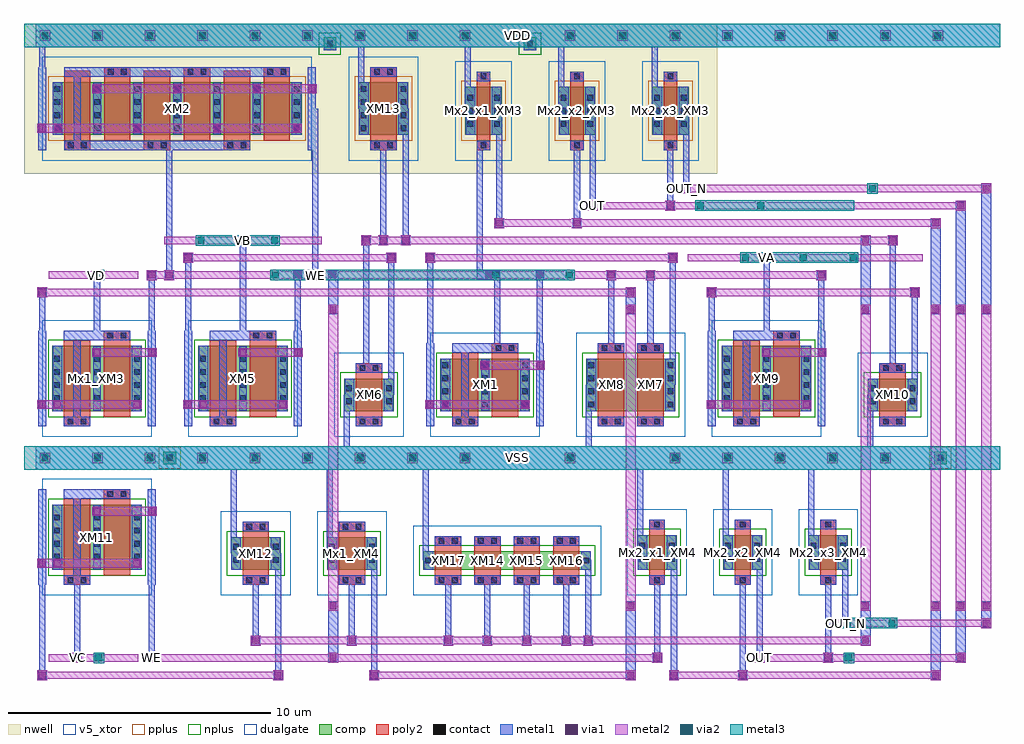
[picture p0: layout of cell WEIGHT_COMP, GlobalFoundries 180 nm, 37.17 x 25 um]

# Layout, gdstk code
import gdstk
lib = gdstk.Library(unit=1e-6, precision=1e-09)
def R(c, l, rs):  # rectangles x0, y0, x1, y1
    for r in rs: c.add(gdstk.rectangle(r[:2], r[2:], *l))
def A(c, l, x, y, w, h, nx, ny, dx, dy):  # array of equal rectangles
    R(c, l, [(x+i*dx, y+j*dy, x+i*dx+w, y+j*dy+h) for i in range(nx) for j in range(ny)])
def P(c, l, *ps):  # polygons
    for p in ps: c.add(gdstk.Polygon(p, *l))
nwell = (21, 0)
comp = (22, 0)
poly2 = (30, 0)
pplus = (31, 0)
nplus = (32, 0)
contact = (33, 0)
metal1 = (34, 0)
via1 = (35, 0)
metal2 = (36, 0)
via2 = (38, 0)
metal3 = (42, 0)
dualgate = (55, 0)
v5_xtor = (112, 1)

weight_comp = lib.new_cell('WEIGHT_COMP')
A(weight_comp, nwell, 14.77, 15.96, 2.56, 3.03, 3, 1, 3.56, 0)
R(weight_comp, nwell, [(-1.45,15.08,24.95,20.79), (-0.95,15.96,9.71,19.16), (10.71,15.96,13.77,19.16)])
A(weight_comp, comp, 13.77, 0, 1.86, 0.7, 4, 1, 1.5, 0)
A(weight_comp, comp, 21.93, 0, 1.46, 1.32, 3, 1, 3.26, 0)
A(weight_comp, comp, 15.37, 16.56, 1.36, 1.83, 3, 1, 3.56, 0)
R(weight_comp, comp, [(-0.37,0,-0.36,2.48), (-0.36,0,3.02,2.48), (3.02,0,3.03,2.48), (6.44,0,6.45,1.24), (6.45,0,8.31,1.24), (8.31,0,8.32,1.24), (10.1,0,10.11,1.24), (10.11,0,11.97,1.24), (11.97,0,11.98,1.24), (13.76,0,13.77,0.7), (15.26,0,15.27,0.7), (15.63,0,15.64,0.7), (16.76,0,16.77,0.7), (17.13,0,17.14,0.7), (18.26,0,18.27,0.7), (18.63,0,18.64,0.7), (20.13,0,20.14,0.7), (21.92,0,21.93,1.32), (23.39,0,23.4,1.32), (25.18,0,25.19,1.32), (26.65,0,26.66,1.32), (28.44,0,28.45,1.32), (29.91,0,29.92,1.32), (3.86,4.02,4.34,4.5), (33.21,4.02,33.69,4.5), (-0.37,6.04,-0.36,8.52), (-0.36,6.04,3.02,8.52), (3.02,6.04,3.03,8.52), (5.19,6.04,5.2,8.52), (5.2,6.04,8.58,8.52), (8.58,6.04,8.59,8.52), (10.75,6.04,10.76,7.28), (10.76,6.04,12.62,7.28), (12.62,6.04,12.63,7.28), (14.41,6.04,14.42,8.04), (14.42,6.04,17.8,8.04), (17.8,6.04,17.81,8.04), (19.97,6.04,19.98,8.04), (19.98,6.04,21.84,8.04), (21.47,6.04,21.48,8.04), (21.48,6.04,23.34,8.04), (21.84,6.04,21.85,8.04), (23.34,6.04,23.35,8.04), (25.13,6.04,25.14,8.52), (25.14,6.04,28.52,8.52), (28.52,6.04,28.53,8.52), (30.69,6.04,30.7,7.28), (30.7,6.04,32.56,7.28), (32.56,6.04,32.57,7.28), (-0.36,16.56,-0.35,18.56), (-0.35,16.56,9.11,18.56), (9.11,16.56,9.12,18.56), (11.3,16.56,11.31,18.56), (11.31,16.56,13.17,18.56), (13.17,16.56,13.18,18.56), (15.36,16.56,15.37,18.39), (16.73,16.56,16.74,18.39), (18.92,16.56,18.93,18.39), (20.29,16.56,20.3,18.39), (22.48,16.56,22.49,18.39), (23.85,16.56,23.86,18.39), (9.96,19.79,10.44,20.27), (17.58,19.79,18.06,20.27)])
A(weight_comp, poly2, 14.2, -0.58, 1, 1.86, 4, 1, 1.5, 0)
A(weight_comp, poly2, 22.36, -0.58, 0.6, 2.48, 3, 1, 3.26, 0)
A(weight_comp, poly2, 0.08, 15.98, 1, 3.02, 3, 1, 3.04, 0)
A(weight_comp, poly2, 15.8, 15.98, 0.5, 2.99, 3, 1, 3.56, 0)
A(weight_comp, poly2, 1.6, 16.34, 1, 2.8, 3, 1, 3.04, 0)
R(weight_comp, poly2, [(0.07,-0.58,1.07,2.7), (6.88,-0.58,7.88,1.82), (10.54,-0.58,11.54,1.82), (1.59,-0.22,2.59,3.06), (0.07,5.46,1.07,8.74), (5.63,5.46,6.63,8.74), (11.19,5.46,12.19,7.86), (14.85,5.46,15.85,8.26), (20.41,5.46,21.41,8.62), (21.91,5.46,22.91,8.62), (25.57,5.46,26.57,8.74), (31.13,5.46,32.13,7.86), (1.59,5.82,2.59,9.1), (7.15,5.82,8.15,9.1), (16.37,5.82,17.37,8.62), (27.09,5.82,28.09,9.1), (11.74,15.98,12.74,19.14)])
A(weight_comp, pplus, 15.21, 16.33, 1.68, 2.29, 3, 1, 3.56, 0)
R(weight_comp, pplus, [(3.68,3.84,4.52,4.68), (33.03,3.84,33.87,4.68), (-0.52,16.33,-0.51,18.79), (-0.51,16.33,9.27,18.79), (9.27,16.33,9.28,18.79), (11.14,16.33,11.15,18.79), (11.15,16.33,13.33,18.79), (13.33,16.33,13.34,18.79), (15.2,16.33,15.21,18.62), (16.89,16.33,16.9,18.62), (18.76,16.33,18.77,18.62), (20.45,16.33,20.46,18.62), (22.32,16.33,22.33,18.62), (24.01,16.33,24.02,18.62)])
A(weight_comp, nplus, 13.61, -0.23, 2.18, 1.16, 4, 1, 1.5, 0)
A(weight_comp, nplus, 21.77, -0.23, 1.78, 1.78, 3, 1, 3.26, 0)
R(weight_comp, nplus, [(-0.53,-0.23,-0.52,2.71), (-0.52,-0.23,3.18,2.71), (3.18,-0.23,3.19,2.71), (6.28,-0.23,6.29,1.47), (6.29,-0.23,8.47,1.47), (8.47,-0.23,8.48,1.47), (9.94,-0.23,9.95,1.47), (9.95,-0.23,12.13,1.47), (12.13,-0.23,12.14,1.47), (13.6,-0.23,13.61,0.93), (15.1,-0.23,15.11,0.93), (15.79,-0.23,15.8,0.93), (16.6,-0.23,16.61,0.93), (17.29,-0.23,17.3,0.93), (18.1,-0.23,18.11,0.93), (18.79,-0.23,18.8,0.93), (20.29,-0.23,20.3,0.93), (21.76,-0.23,21.77,1.55), (23.55,-0.23,23.56,1.55), (25.02,-0.23,25.03,1.55), (26.81,-0.23,26.82,1.55), (28.28,-0.23,28.29,1.55), (30.07,-0.23,30.08,1.55), (-0.53,5.81,-0.52,8.75), (-0.52,5.81,3.18,8.75), (3.18,5.81,3.19,8.75), (5.03,5.81,5.04,8.75), (5.04,5.81,8.74,8.75), (8.74,5.81,8.75,8.75), (10.59,5.81,10.6,7.51), (10.6,5.81,12.78,7.51), (12.78,5.81,12.79,7.51), (14.25,5.81,14.26,8.27), (14.26,5.81,17.96,8.27), (17.96,5.81,17.97,8.27), (19.81,5.81,19.82,8.27), (19.82,5.81,22,8.27), (21.31,5.81,21.32,8.27), (21.32,5.81,23.5,8.27), (22,5.81,22.01,8.27), (23.5,5.81,23.51,8.27), (24.97,5.81,24.98,8.75), (24.98,5.81,28.68,8.75), (28.68,5.81,28.69,8.75), (30.53,5.81,30.54,7.51), (30.54,5.81,32.72,7.51), (32.72,5.81,32.73,7.51), (9.78,19.61,10.62,20.45), (17.4,19.61,18.24,20.45)])
A(weight_comp, contact, 22.55, -0.51, 0.22, 0.22, 3, 2, 3.26, 2.12)
A(weight_comp, contact, -0.3, 0.38, 0.22, 0.22, 3, 4, 1.52, 0.5)
A(weight_comp, contact, 14.48, 6.18, 0.22, 0.22, 3, 4, 1.52, 0.5)
A(weight_comp, contact, 20.04, 6.18, 0.22, 0.22, 1, 4, 0, 0.5)
A(weight_comp, contact, 23.06, 6.18, 0.22, 0.22, 1, 4, 0, 0.5)
A(weight_comp, contact, -0.3, 6.42, 0.22, 0.22, 3, 4, 1.52, 0.5)
A(weight_comp, contact, 5.26, 6.42, 0.22, 0.22, 3, 4, 1.52, 0.5)
A(weight_comp, contact, 25.2, 6.42, 0.22, 0.22, 3, 4, 1.52, 0.5)
A(weight_comp, contact, 12.38, 16.05, 0.22, 0.22, 4, 1, 3.56, 0)
A(weight_comp, contact, -0.29, 16.7, 0.22, 0.22, 7, 4, 1.52, 0.5)
A(weight_comp, contact, 11.37, 16.7, 0.22, 0.22, 1, 4, 0, 0.5)
A(weight_comp, contact, 12.89, 16.7, 0.22, 0.22, 1, 4, 0, 0.5)
A(weight_comp, contact, 15.43, 16.865, 0.22, 0.22, 1, 3, 0, 0.5)
A(weight_comp, contact, 16.45, 16.865, 0.22, 0.22, 1, 3, 0, 0.5)
A(weight_comp, contact, 18.99, 16.865, 0.22, 0.22, 1, 3, 0, 0.5)
A(weight_comp, contact, 20.01, 16.865, 0.22, 0.22, 1, 3, 0, 0.5)
A(weight_comp, contact, 22.55, 16.865, 0.22, 0.22, 1, 3, 0, 0.5)
A(weight_comp, contact, 23.57, 16.865, 0.22, 0.22, 1, 3, 0, 0.5)
A(weight_comp, contact, 15.94, 18.68, 0.22, 0.22, 3, 1, 3.56, 0)
R(weight_comp, contact, [(0.21,-0.51,0.43,-0.29), (0.71,-0.51,0.93,-0.29), (7.02,-0.51,7.24,-0.29), (7.52,-0.51,7.74,-0.29), (10.68,-0.51,10.9,-0.29), (11.18,-0.51,11.4,-0.29), (14.34,-0.51,14.56,-0.29), (14.84,-0.51,15.06,-0.29), (15.84,-0.51,16.06,-0.29), (16.34,-0.51,16.56,-0.29), (17.34,-0.51,17.56,-0.29), (17.84,-0.51,18.06,-0.29), (18.84,-0.51,19.06,-0.29), (19.34,-0.51,19.56,-0.29), (13.83,0.24,14.05,0.46), (19.85,0.24,20.07,0.46), (6.51,0.26,6.73,0.48), (8.03,0.26,8.25,0.48), (10.17,0.26,10.39,0.48), (11.69,0.26,11.91,0.48), (21.99,0.3,22.21,0.52), (23.11,0.3,23.33,0.52), (25.25,0.3,25.47,0.52), (26.37,0.3,26.59,0.52), (28.51,0.3,28.73,0.52), (29.63,0.3,29.85,0.52), (6.51,0.76,6.73,0.98), (8.03,0.76,8.25,0.98), (10.17,0.76,10.39,0.98), (11.69,0.76,11.91,0.98), (21.99,0.8,22.21,1.02), (23.11,0.8,23.33,1.02), (25.25,0.8,25.47,1.02), (26.37,0.8,26.59,1.02), (28.51,0.8,28.73,1.02), (29.63,0.8,29.85,1.02), (14.34,0.99,14.56,1.21), (14.84,0.99,15.06,1.21), (15.84,0.99,16.06,1.21), (16.34,0.99,16.56,1.21), (17.34,0.99,17.56,1.21), (17.84,0.99,18.06,1.21), (18.84,0.99,19.06,1.21), (19.34,0.99,19.56,1.21), (7.02,1.53,7.24,1.75), (7.52,1.53,7.74,1.75), (10.68,1.53,10.9,1.75), (11.18,1.53,11.4,1.75), (1.73,2.77,1.95,2.99), (2.23,2.77,2.45,2.99), (3.99,4.15,4.21,4.37), (33.34,4.15,33.56,4.37), (0.21,5.53,0.43,5.75), (0.71,5.53,0.93,5.75), (5.77,5.53,5.99,5.75), (6.27,5.53,6.49,5.75), (11.33,5.53,11.55,5.75), (11.83,5.53,12.05,5.75), (14.99,5.53,15.21,5.75), (15.49,5.53,15.71,5.75), (20.55,5.53,20.77,5.75), (21.05,5.53,21.27,5.75), (22.05,5.53,22.27,5.75), (22.55,5.53,22.77,5.75), (25.71,5.53,25.93,5.75), (26.21,5.53,26.43,5.75), (31.27,5.53,31.49,5.75), (31.77,5.53,31.99,5.75), (10.82,6.3,11.04,6.52), (12.34,6.3,12.56,6.52), (30.76,6.3,30.98,6.52), (32.28,6.3,32.5,6.52), (10.82,6.8,11.04,7.02), (12.34,6.8,12.56,7.02), (30.76,6.8,30.98,7.02), (32.28,6.8,32.5,7.02), (11.33,7.57,11.55,7.79), (11.83,7.57,12.05,7.79), (31.27,7.57,31.49,7.79), (31.77,7.57,31.99,7.79), (16.51,8.33,16.73,8.55), (17.01,8.33,17.23,8.55), (20.55,8.33,20.77,8.55), (21.05,8.33,21.27,8.55), (22.05,8.33,22.27,8.55), (22.55,8.33,22.77,8.55), (1.73,8.81,1.95,9.03), (2.23,8.81,2.45,9.03), (7.29,8.81,7.51,9.03), (7.79,8.81,8.01,9.03), (27.23,8.81,27.45,9.03), (27.73,8.81,27.95,9.03), (0.22,16.05,0.44,16.27), (0.72,16.05,0.94,16.27), (3.26,16.05,3.48,16.27), (3.76,16.05,3.98,16.27), (6.3,16.05,6.52,16.27), (6.8,16.05,7.02,16.27), (11.88,16.05,12.1,16.27), (1.74,18.85,1.96,19.07), (2.24,18.85,2.46,19.07), (4.78,18.85,5,19.07), (5.28,18.85,5.5,19.07), (7.82,18.85,8.04,19.07), (8.32,18.85,8.54,19.07), (11.88,18.85,12.1,19.07), (12.38,18.85,12.6,19.07), (10.09,19.92,10.31,20.14), (17.71,19.92,17.93,20.14)])
A(weight_comp, metal1, 7.21, -2.87, 0.34, 0.34, 3, 1, 3.66, 0)
A(weight_comp, metal1, 16.03, -2.87, 0.34, 0.34, 3, 1, 1.5, 0)
A(weight_comp, metal1, 7.265, -2.7, 0.23, 2.3, 3, 1, 3.66, 0)
A(weight_comp, metal1, 16.085, -2.7, 0.23, 2.3, 3, 1, 1.5, 0)
A(weight_comp, metal1, 6.88, -0.58, 1, 0.36, 3, 1, 3.66, 0)
A(weight_comp, metal1, 15.7, -0.58, 1, 0.36, 3, 1, 1.5, 0)
A(weight_comp, metal1, 22.36, -0.58, 0.6, 0.36, 3, 2, 3.26, 2.12)
A(weight_comp, metal1, 21.9, 0.66, 0.23, 3.6, 3, 1, 3.26, 0)
A(weight_comp, metal1, 14.2, 0.92, 1, 0.36, 4, 1, 1.5, 0)
A(weight_comp, metal1, 15.8, 15.98, 0.5, 0.36, 3, 2, 3.56, 2.63)
A(weight_comp, metal1, 1.19, 16.58, 0.3, 1.96, 5, 1, 1.52, 0)
A(weight_comp, metal1, 15.34, 17.475, 0.23, 2.865, 3, 1, 3.56, 0)
R(weight_comp, metal1, [(-0.93,-4.19,-0.59,-3.85), (8.055,-4.19,8.395,-3.85), (11.715,-4.19,12.055,-3.85), (21.49,-4.19,21.83,-3.85), (23.135,-4.19,23.475,-3.85), (25.75,-4.19,26.09,-3.85), (33.1,-4.19,33.44,-3.85), (21.47,-4.18,21.85,-1.22), (33.08,-4.18,33.46,-1.22), (-0.875,-4.02,-0.645,1.24), (8.11,-4.02,8.34,0.62), (11.77,-4.02,12,0.62), (23.19,-4.02,23.42,0.66), (25.805,-4.02,26.035,-0.4), (0.4,-3.53,0.74,-3.19), (3.25,-3.53,3.59,-3.19), (10.15,-3.53,10.49,-3.19), (22.49,-3.53,22.83,-3.19), (26.395,-3.53,26.735,-3.19), (29.01,-3.53,29.35,-3.19), (34.06,-3.53,34.4,-3.19), (10.13,-3.52,10.51,-1.22), (34.04,-3.52,34.42,-1.22), (0.455,-3.36,0.685,-0.4), (3.305,-3.36,3.535,1.24), (22.545,-3.36,22.775,-0.4), (26.45,-3.36,26.68,0.66), (29.065,-3.36,29.295,-0.4), (19.875,-2.87,20.215,-2.53), (30.43,-2.87,30.77,-2.53), (30.41,-2.86,30.79,-1.22), (19.93,-2.7,20.16,0.35), (29.655,-2.21,29.995,-1.87), (35.025,-2.21,35.365,-1.87), (35.005,-2.2,35.385,-1.22), (29.71,-2.04,29.94,0.66), (10.15,-1.55,10.49,-1.21), (21.49,-1.55,21.83,-1.21), (30.43,-1.55,30.77,-1.21), (33.1,-1.55,33.44,-1.21), (34.06,-1.55,34.4,-1.21), (35.025,-1.55,35.365,-1.21), (-0.91,-0.58,-0.61,3.06), (3.27,-0.58,3.57,3.06), (-0.36,0,0,2.48), (2.66,0,3.02,2.48), (6.45,0,6.81,1.24), (7.95,0,8.31,1.24), (10.11,0,10.47,1.24), (11.61,0,11.97,1.24), (13.77,0,14.13,0.7), (19.77,0,20.13,0.7), (21.93,0,22.29,1.32), (23.03,0,23.39,1.32), (25.19,0,25.55,1.32), (26.29,0,26.65,1.32), (28.45,0,28.81,1.32), (29.55,0,29.91,1.32), (1.18,0.02,1.48,2.46), (13.74,0.35,13.97,4.26), (6.42,0.62,6.65,4.26), (10.08,0.62,10.31,4.26), (6.88,1.46,7.88,1.82), (10.54,1.46,11.54,1.82), (-1,3.81,35.72,4.71), (3.86,4.02,4.34,4.71), (33.21,4.02,33.69,4.71), (10.73,4.26,10.96,6.66), (19.95,4.26,20.18,7.04), (30.67,4.26,30.9,6.66), (-0.91,5.46,-0.61,9.1), (3.27,5.46,3.57,9.1), (4.65,5.46,4.95,9.1), (8.83,5.46,9.13,9.1), (11.19,5.46,12.19,5.82), (13.87,5.46,14.17,8.62), (18.05,5.46,18.35,8.62), (20.41,5.46,21.41,5.82), (21.91,5.46,22.91,5.82), (24.59,5.46,24.89,9.1), (28.77,5.46,29.07,9.1), (31.13,5.46,32.13,5.82), (-0.36,6.04,0,8.52), (2.66,6.04,3.02,8.52), (5.2,6.04,5.56,8.52), (8.22,6.04,8.58,8.52), (10.76,6.04,11.12,7.28), (12.26,6.04,12.62,7.28), (14.42,6.04,14.78,8.04), (17.44,6.04,17.8,8.04), (19.98,6.04,20.34,8.04), (22.98,6.04,23.34,8.04), (25.14,6.04,25.5,8.52), (28.16,6.04,28.52,8.52), (30.7,6.04,31.06,7.28), (32.2,6.04,32.56,7.28), (1.18,6.06,1.48,8.5), (6.74,6.06,7.04,8.5), (15.96,6.06,16.26,8.02), (26.68,6.06,26.98,8.5), (12.42,6.66,12.65,11.88), (32.36,6.66,32.59,10.56), (13.905,7.04,14.135,11.88), (18.085,7.04,18.315,11.22), (23.14,7.04,23.37,11.88), (-0.875,7.28,-0.645,10.56), (3.305,7.28,3.535,11.22), (4.685,7.28,4.915,11.88), (8.865,7.28,9.095,11.22), (24.625,7.28,24.855,10.56), (28.805,7.28,29.035,11.22), (11.19,7.5,12.19,7.86), (31.13,7.5,32.13,7.86), (11.465,7.68,11.695,12.54), (31.515,7.68,31.745,12.54), (20.41,8.26,21.41,8.62), (21.91,8.26,22.91,8.62), (16.46,8.44,16.69,11.22), (20.795,8.44,21.025,11.22), (22.295,8.44,22.525,11.22), (1.215,8.92,1.445,11.22), (6.775,8.92,7.005,12.54), (26.715,8.92,26.945,11.88), (10.15,9.73,10.49,10.07), (21.49,9.73,21.83,10.07), (30.43,9.73,30.77,10.07), (33.1,9.73,33.44,10.07), (34.06,9.73,34.4,10.07), (35.025,9.73,35.365,10.07), (10.13,9.74,10.51,11.38), (21.47,9.74,21.85,10.72), (30.41,9.74,30.79,12.7), (33.08,9.74,33.46,13.36), (34.04,9.74,34.42,14.02), (35.005,9.74,35.385,14.68), (-0.93,10.39,-0.59,10.73), (21.49,10.39,21.83,10.73), (24.57,10.39,24.91,10.73), (32.305,10.39,32.645,10.73), (1.16,11.05,1.5,11.39), (3.25,11.05,3.59,11.39), (3.91,11.05,4.25,11.39), (8.81,11.05,9.15,11.39), (9.47,11.05,9.81,11.39), (10.15,11.05,10.49,11.39), (15.8,11.05,16.69,11.39), (16.075,11.05,16.415,11.39), (18.03,11.05,18.37,11.39), (20.74,11.05,21.08,11.39), (22.24,11.05,22.58,11.39), (28.75,11.05,29.09,11.39), (3.965,11.22,4.195,16.16), (9.525,11.22,9.755,17.56), (15.8,11.22,16.03,16.16), (4.63,11.71,4.97,12.05), (12.365,11.71,12.705,12.05), (13.85,11.71,14.19,12.05), (23.085,11.71,23.425,12.05), (26.66,11.71,27,12.05), (6.72,12.37,7.06,12.71), (11.41,12.37,11.75,12.71), (12.07,12.37,12.41,12.71), (12.915,12.37,13.255,12.71), (30.43,12.37,30.77,12.71), (31.46,12.37,31.8,12.71), (12.125,12.54,12.355,16.16), (12.97,12.54,13.2,17.56), (16.475,13.03,16.815,13.37), (19.44,13.03,19.78,13.37), (33.1,13.03,33.44,13.37), (16.53,13.2,16.76,17.475), (19.495,13.2,19.725,16.16), (20.035,13.69,20.375,14.03), (23,13.69,23.34,14.03), (34.06,13.69,34.4,14.03), (20.09,13.86,20.32,17.475), (23.055,13.86,23.285,16.16), (23.595,14.35,23.935,14.69), (35.025,14.35,35.365,14.69), (23.65,14.52,23.88,17.475), (-0.9,15.98,-0.6,19.14), (9.36,15.98,9.66,19.14), (11.74,15.98,12.74,16.34), (-0.35,16.56,0.01,18.56), (8.75,16.56,9.11,18.56), (11.31,16.56,11.67,18.56), (12.81,16.56,13.17,18.56), (15.37,16.56,15.73,18.39), (16.37,16.56,16.73,18.39), (18.93,16.56,19.29,18.39), (19.93,16.56,20.29,18.39), (22.49,16.56,22.85,18.39), (23.49,16.56,23.85,18.39), (-0.865,17.56,-0.635,20.34), (11.28,17.56,11.51,20.34), (11.74,18.78,12.74,19.14), (9.96,19.79,10.44,20.27), (17.58,19.79,18.06,20.27), (-1,19.89,35.72,20.79)])
P(weight_comp, metal1, [(0.07,5.46),(0.07,5.82),(0.43,5.82),(0.43,8.74),(0.07,8.74),(0.07,9.1),(2.59,9.1),(2.59,8.74),(0.71,8.74),(0.71,5.82),(1.07,5.82),(1.07,5.46)],
  [(5.63,5.46),(5.63,5.82),(5.99,5.82),(5.99,8.74),(5.63,8.74),(5.63,9.1),(8.15,9.1),(8.15,8.74),(6.27,8.74),(6.27,5.82),(6.63,5.82),(6.63,5.46)],
  [(14.85,5.46),(14.85,5.82),(15.21,5.82),(15.21,8.26),(14.85,8.26),(14.85,8.62),(17.37,8.62),(17.37,8.26),(15.49,8.26),(15.49,5.82),(15.85,5.82),(15.85,5.46)],
  [(25.57,5.46),(25.57,5.82),(25.93,5.82),(25.93,8.74),(25.57,8.74),(25.57,9.1),(28.09,9.1),(28.09,8.74),(26.21,8.74),(26.21,5.82),(26.57,5.82),(26.57,5.46)],
  [(0.08,15.98),(0.08,16.34),(0.44,16.34),(0.44,18.78),(0.08,18.78),(0.08,19.14),(8.68,19.14),(8.68,18.78),(0.72,18.78),(0.72,16.34),(7.16,16.34),(7.16,15.98)],
  [(0.07,-0.58),(0.07,-0.22),(0.43,-0.22),(0.43,2.7),(0.07,2.7),(0.07,3.06),(2.59,3.06),(2.59,2.7),(0.71,2.7),(0.71,-0.22),(1.07,-0.22),(1.07,-0.58)])
A(weight_comp, via1, 7.25, -2.83, 0.26, 0.26, 3, 1, 3.66, 0)
A(weight_comp, via1, 16.07, -2.83, 0.26, 0.26, 3, 1, 1.5, 0)
A(weight_comp, via1, -0.78, 4.13, 0.26, 0.26, 11, 1, 2, 0)
A(weight_comp, via1, 23.22, 4.13, 0.26, 0.26, 5, 1, 2, 0)
A(weight_comp, via1, 1.21, 18.18, 0.26, 0.26, 3, 1, 3.04, 0)
A(weight_comp, via1, -0.78, 20.21, 0.26, 0.26, 18, 1, 2, 0)
R(weight_comp, via1, [(-0.89,-4.15,-0.63,-3.89), (8.095,-4.15,8.355,-3.89), (11.755,-4.15,12.015,-3.89), (21.53,-4.15,21.79,-3.89), (23.175,-4.15,23.435,-3.89), (25.79,-4.15,26.05,-3.89), (33.14,-4.15,33.4,-3.89), (0.44,-3.49,0.7,-3.23), (3.29,-3.49,3.55,-3.23), (10.19,-3.49,10.45,-3.23), (22.53,-3.49,22.79,-3.23), (26.435,-3.49,26.695,-3.23), (29.05,-3.49,29.31,-3.23), (34.1,-3.49,34.36,-3.23), (19.915,-2.83,20.175,-2.57), (30.47,-2.83,30.73,-2.57), (29.695,-2.17,29.955,-1.91), (35.065,-2.17,35.325,-1.91), (10.19,-1.51,10.45,-1.25), (21.53,-1.51,21.79,-1.25), (30.47,-1.51,30.73,-1.25), (33.14,-1.51,33.4,-1.25), (34.1,-1.51,34.36,-1.25), (35.065,-1.51,35.325,-1.25), (-0.89,0.12,-0.63,0.38), (-0.31,0.12,-0.05,0.38), (2.71,0.12,2.97,0.38), (1.2,2.1,1.46,2.36), (3.29,2.1,3.55,2.36), (-0.89,6.16,-0.63,6.42), (-0.31,6.16,-0.05,6.42), (2.71,6.16,2.97,6.42), (4.67,6.16,4.93,6.42), (5.25,6.16,5.51,6.42), (8.27,6.16,8.53,6.42), (13.89,6.16,14.15,6.42), (14.47,6.16,14.73,6.42), (17.49,6.16,17.75,6.42), (24.61,6.16,24.87,6.42), (25.19,6.16,25.45,6.42), (28.21,6.16,28.47,6.42), (15.98,7.66,16.24,7.92), (18.07,7.66,18.33,7.92), (1.2,8.14,1.46,8.4), (3.29,8.14,3.55,8.4), (6.76,8.14,7.02,8.4), (8.85,8.14,9.11,8.4), (26.7,8.14,26.96,8.4), (28.79,8.14,29.05,8.4), (10.19,9.77,10.45,10.03), (21.53,9.77,21.79,10.03), (30.47,9.77,30.73,10.03), (33.14,9.77,33.4,10.03), (34.1,9.77,34.36,10.03), (35.065,9.77,35.325,10.03), (-0.89,10.43,-0.63,10.69), (21.53,10.43,21.79,10.69), (24.61,10.43,24.87,10.69), (32.345,10.43,32.605,10.69), (1.2,11.09,1.46,11.35), (3.29,11.09,3.55,11.35), (3.95,11.09,4.21,11.35), (8.85,11.09,9.11,11.35), (9.51,11.09,9.77,11.35), (10.19,11.09,10.45,11.35), (16.115,11.09,16.375,11.35), (18.07,11.09,18.33,11.35), (20.78,11.09,21.04,11.35), (22.28,11.09,22.54,11.35), (28.79,11.09,29.05,11.35), (4.67,11.75,4.93,12.01), (12.405,11.75,12.665,12.01), (13.89,11.75,14.15,12.01), (23.125,11.75,23.385,12.01), (26.7,11.75,26.96,12.01), (6.76,12.41,7.02,12.67), (11.45,12.41,11.71,12.67), (12.11,12.41,12.37,12.67), (12.955,12.41,13.215,12.67), (30.47,12.41,30.73,12.67), (31.5,12.41,31.76,12.67), (16.515,13.07,16.775,13.33), (19.48,13.07,19.74,13.33), (33.14,13.07,33.4,13.33), (20.075,13.73,20.335,13.99), (23.04,13.73,23.3,13.99), (34.1,13.73,34.36,13.99), (23.635,14.39,23.895,14.65), (35.065,14.39,35.325,14.65), (-0.88,16.68,-0.62,16.94), (-0.3,16.68,-0.04,16.94), (2.73,16.68,2.99,16.94), (5.77,16.68,6.03,16.94), (8.8,16.68,9.06,16.94), (9.38,18.18,9.64,18.44)])
A(weight_comp, metal2, 7.19, -2.89, 0.38, 0.38, 3, 1, 3.66, 0)
A(weight_comp, metal2, 16.01, -2.89, 0.38, 0.38, 3, 1, 1.5, 0)
A(weight_comp, metal2, -0.85, 4.06, 0.4, 0.4, 11, 1, 2, 0)
A(weight_comp, metal2, 23.15, 4.06, 0.4, 0.4, 5, 1, 2, 0)
A(weight_comp, metal2, -0.85, 20.14, 0.4, 0.4, 18, 1, 2, 0)
R(weight_comp, metal2, [(-0.95,-4.21,-0.57,-3.83), (8.035,-4.21,8.415,-3.83), (11.695,-4.21,12.075,-3.83), (21.47,-4.21,21.85,-3.83), (23.115,-4.21,23.495,-3.83), (25.73,-4.21,26.11,-3.83), (33.08,-4.21,33.46,-3.83), (-0.76,-4.16,8.225,-3.88), (11.885,-4.16,21.66,-3.88), (23.305,-4.16,33.27,-3.88), (1.2,-3.56,1.6,-3.16), (29.765,-3.56,30.165,-3.16), (0.38,-3.55,0.76,-3.17), (3.23,-3.55,3.61,-3.17), (10.13,-3.55,10.51,-3.17), (22.47,-3.55,22.85,-3.17), (26.375,-3.55,26.755,-3.17), (28.99,-3.55,29.37,-3.17), (34.04,-3.55,34.42,-3.17), (-0.5,-3.5,2.9,-3.22), (3.42,-3.5,22.66,-3.22), (26.565,-3.5,34.23,-3.22), (19.855,-2.89,20.235,-2.51), (30.41,-2.89,30.79,-2.51), (7.38,-2.84,30.6,-2.56), (29.71,-2.24,30.11,-1.84), (31.41,-2.24,31.81,-1.84), (29.635,-2.23,30.015,-1.85), (35.005,-2.23,35.385,-1.85), (29.51,-2.18,35.22,-1.9), (10.13,-1.57,10.51,-1.19), (21.47,-1.57,21.85,-1.19), (30.41,-1.57,30.79,-1.19), (33.08,-1.57,33.46,-1.19), (34.04,-1.57,34.42,-1.19), (35.005,-1.57,35.385,-1.19), (10.13,-1.54,10.51,10.06), (21.47,-1.54,21.85,10.06), (30.41,-1.54,30.79,10.06), (33.08,-1.54,33.46,10.06), (34.04,-1.54,34.42,10.06), (35.005,-1.54,35.385,10.06), (-0.95,0.08,3.03,0.42), (1.14,2.06,3.61,2.4), (-0.95,6.12,3.03,6.46), (4.61,6.12,8.59,6.46), (13.83,6.12,17.81,6.46), (24.55,6.12,28.53,6.46), (15.92,7.62,18.39,7.96), (1.14,8.1,3.61,8.44), (6.7,8.1,9.17,8.44), (26.64,8.1,29.11,8.44), (10.13,9.71,10.51,10.09), (21.47,9.71,21.85,10.09), (30.41,9.71,30.79,10.09), (33.08,9.71,33.46,10.09), (34.04,9.71,34.42,10.09), (35.005,9.71,35.385,10.09), (-0.95,10.37,-0.57,10.75), (21.47,10.37,21.85,10.75), (24.55,10.37,24.93,10.75), (32.285,10.37,32.665,10.75), (-0.76,10.42,21.66,10.7), (24.74,10.42,32.475,10.7), (1.2,11.02,1.6,11.42), (7.92,11.02,8.32,11.42), (16.32,11.02,16.72,11.42), (19.12,11.02,19.52,11.42), (1.14,11.03,1.52,11.41), (3.23,11.03,3.61,11.41), (3.89,11.03,4.27,11.41), (8.79,11.03,9.17,11.41), (9.45,11.03,9.83,11.41), (10.13,11.03,10.51,11.41), (16.055,11.03,16.435,11.41), (18.01,11.03,18.39,11.41), (20.72,11.03,21.1,11.41), (22.22,11.03,22.6,11.41), (28.73,11.03,29.11,11.41), (-0.5,11.08,2.9,11.36), (3.42,11.08,28.92,11.36), (25.83,11.68,26.23,12.08), (28.03,11.68,28.43,12.08), (29.93,11.68,30.33,12.08), (4.61,11.69,4.99,12.07), (12.345,11.69,12.725,12.07), (13.83,11.69,14.21,12.07), (23.065,11.69,23.445,12.07), (26.64,11.69,27.02,12.07), (4.8,11.74,12.535,12.02), (14.02,11.74,23.255,12.02), (23.83,11.74,32.775,12.02), (5.09,12.34,5.49,12.74), (6.79,12.34,7.19,12.74), (7.89,12.34,8.29,12.74), (6.7,12.35,7.08,12.73), (11.39,12.35,11.77,12.73), (12.05,12.35,12.43,12.73), (12.895,12.35,13.275,12.73), (30.41,12.35,30.79,12.73), (31.44,12.35,31.82,12.73), (3.89,12.4,9.89,12.68), (11.58,12.4,31.63,12.68), (16.455,13.01,16.835,13.39), (19.42,13.01,19.8,13.39), (33.08,13.01,33.46,13.39), (16.645,13.06,33.27,13.34), (24.105,13.66,24.505,14.06), (26.405,13.66,26.805,14.06), (20.015,13.67,20.395,14.05), (22.98,13.67,23.36,14.05), (34.04,13.67,34.42,14.05), (20.205,13.72,34.23,14), (30.665,14.32,31.065,14.72), (23.575,14.33,23.955,14.71), (35.005,14.33,35.385,14.71), (23.765,14.38,35.195,14.66), (-0.94,16.64,9.12,16.98), (1.15,18.14,9.7,18.48)])
A(weight_comp, via2, -0.78, 4.13, 0.26, 0.26, 11, 1, 2, 0)
A(weight_comp, via2, 23.22, 4.13, 0.26, 0.26, 5, 1, 2, 0)
A(weight_comp, via2, -0.78, 20.21, 0.26, 0.26, 18, 1, 2, 0)
R(weight_comp, via2, [(1.27,-3.49,1.53,-3.23), (29.835,-3.49,30.095,-3.23), (29.78,-2.17,30.04,-1.91), (31.48,-2.17,31.74,-1.91), (1.27,11.09,1.53,11.35), (7.99,11.09,8.25,11.35), (16.39,11.09,16.65,11.35), (19.19,11.09,19.45,11.35), (25.9,11.75,26.16,12.01), (28.1,11.75,28.36,12.01), (30,11.75,30.26,12.01), (5.16,12.41,5.42,12.67), (6.86,12.41,7.12,12.67), (7.96,12.41,8.22,12.67), (24.175,13.73,24.435,13.99), (26.475,13.73,26.735,13.99), (30.735,14.39,30.995,14.65)])
R(weight_comp, metal3, [(1.2,-3.56,1.6,-3.16), (29.765,-3.56,30.165,-3.16), (29.71,-2.24,30.11,-1.84), (29.71,-2.24,31.81,-1.84), (31.41,-2.24,31.81,-1.84), (-1.45,3.81,35.72,4.71), (1.2,11.02,1.6,11.42), (7.92,11.02,8.32,11.42), (7.92,11.02,19.52,11.42), (16.32,11.02,16.72,11.42), (19.12,11.02,19.52,11.42), (25.83,11.68,26.23,12.08), (25.83,11.68,30.33,12.08), (28.03,11.68,28.43,12.08), (29.93,11.68,30.33,12.08), (5.09,12.34,5.49,12.74), (5.09,12.34,8.29,12.74), (6.79,12.34,7.19,12.74), (7.89,12.34,8.29,12.74), (24.105,13.66,24.505,14.06), (24.105,13.66,30.165,14.06), (26.405,13.66,26.805,14.06), (30.665,14.32,31.065,14.72), (-1.45,19.89,35.72,20.79)])
A(weight_comp, dualgate, 13.37, -0.98, 2.66, 2.66, 4, 1, 1.5, 0)
A(weight_comp, dualgate, 21.53, -0.98, 2.26, 3.28, 3, 1, 3.26, 0)
A(weight_comp, dualgate, 14.97, 15.58, 2.16, 3.79, 3, 1, 3.56, 0)
R(weight_comp, dualgate, [(-0.76,-0.98,3.42,3.46), (6.05,-0.98,8.71,2.22), (9.71,-0.98,12.37,2.22), (-0.76,5.06,3.42,9.5), (4.8,5.06,8.98,9.5), (10.36,5.06,13.02,8.26), (14.02,5.06,18.2,9.02), (19.58,5.06,22.24,9.02), (21.08,5.06,23.74,9.02), (24.74,5.06,28.92,9.5), (30.3,5.06,32.96,8.26), (-0.75,15.58,9.51,19.54), (10.91,15.58,13.57,19.54)])
A(weight_comp, v5_xtor, 21.53, -0.98, 2.26, 3.28, 3, 1, 3.26, 0)
A(weight_comp, v5_xtor, 14.97, 15.58, 2.16, 3.79, 3, 1, 3.56, 0)
weight_comp.add(gdstk.Label('VSS', (17.36,4.26), layer=34, texttype=0))
weight_comp.add(gdstk.Label('VDD', (17.36,20.34), layer=34, texttype=0))
weight_comp.add(gdstk.Label('VD', (1.33,11.22), layer=34, texttype=0))
weight_comp.add(gdstk.Label('WE', (9.64,11.22), layer=34, texttype=0))
weight_comp.add(gdstk.Label('VA', (26.83,11.88), layer=34, texttype=0))
weight_comp.add(gdstk.Label('VB', (6.89,12.54), layer=34, texttype=0))
weight_comp.add(gdstk.Label('OUT', (20.205,13.86), layer=34, texttype=0))
weight_comp.add(gdstk.Label('OUT_N', (23.765,14.52), layer=34, texttype=0))
weight_comp.add(gdstk.Label('VC', (0.57,-3.36), layer=34, texttype=0))
weight_comp.add(gdstk.Label('WE', (3.42,-3.36), layer=34, texttype=0))
weight_comp.add(gdstk.Label('OUT', (26.565,-3.36), layer=34, texttype=0))
weight_comp.add(gdstk.Label('OUT_N', (29.825,-2.04), layer=34, texttype=0))
weight_comp.add(gdstk.Label('VSS', (17.36,4.26), layer=34, texttype=10))
weight_comp.add(gdstk.Label('VDD', (17.36,20.34), layer=34, texttype=10))
weight_comp.add(gdstk.Label('VD', (1.33,11.22), layer=34, texttype=10))
weight_comp.add(gdstk.Label('WE', (9.64,11.22), layer=34, texttype=10))
weight_comp.add(gdstk.Label('VA', (26.83,11.88), layer=34, texttype=10))
weight_comp.add(gdstk.Label('VB', (6.89,12.54), layer=34, texttype=10))
weight_comp.add(gdstk.Label('OUT', (20.205,13.86), layer=34, texttype=10))
weight_comp.add(gdstk.Label('OUT_N', (23.765,14.52), layer=34, texttype=10))
weight_comp.add(gdstk.Label('VC', (0.57,-3.36), layer=34, texttype=10))
weight_comp.add(gdstk.Label('WE', (3.42,-3.36), layer=34, texttype=10))
weight_comp.add(gdstk.Label('OUT', (26.565,-3.36), layer=34, texttype=10))
weight_comp.add(gdstk.Label('OUT_N', (29.825,-2.04), layer=34, texttype=10))
weight_comp.add(gdstk.Label('Mx1_XM3', (1.33,7.28), layer=63, texttype=63))
weight_comp.add(gdstk.Label('XM5', (6.89,7.28), layer=63, texttype=63))
weight_comp.add(gdstk.Label('XM6', (11.69,6.66), layer=63, texttype=63))
weight_comp.add(gdstk.Label('XM1', (16.11,7.04), layer=63, texttype=63))
weight_comp.add(gdstk.Label('XM8', (20.91,7.04), layer=63, texttype=63))
weight_comp.add(gdstk.Label('XM7', (22.41,7.04), layer=63, texttype=63))
weight_comp.add(gdstk.Label('XM9', (26.83,7.28), layer=63, texttype=63))
weight_comp.add(gdstk.Label('XM10', (31.63,6.66), layer=63, texttype=63))
weight_comp.add(gdstk.Label('XM11', (1.33,1.24), layer=63, texttype=63))
weight_comp.add(gdstk.Label('XM12', (7.38,0.62), layer=63, texttype=63))
weight_comp.add(gdstk.Label('Mx1_XM4', (11.04,0.62), layer=63, texttype=63))
weight_comp.add(gdstk.Label('XM17', (14.7,0.35), layer=63, texttype=63))
weight_comp.add(gdstk.Label('XM14', (16.2,0.35), layer=63, texttype=63))
weight_comp.add(gdstk.Label('XM15', (17.7,0.35), layer=63, texttype=63))
weight_comp.add(gdstk.Label('XM16', (19.2,0.35), layer=63, texttype=63))
weight_comp.add(gdstk.Label('Mx2_x1_XM4', (22.66,0.66), layer=63, texttype=63))
weight_comp.add(gdstk.Label('Mx2_x2_XM4', (25.92,0.66), layer=63, texttype=63))
weight_comp.add(gdstk.Label('Mx2_x3_XM4', (29.18,0.66), layer=63, texttype=63))
weight_comp.add(gdstk.Label('XM2', (4.38,17.56), layer=63, texttype=63))
weight_comp.add(gdstk.Label('XM13', (12.24,17.56), layer=63, texttype=63))
weight_comp.add(gdstk.Label('Mx2_x1_XM3', (16.05,17.475), layer=63, texttype=63))
weight_comp.add(gdstk.Label('Mx2_x2_XM3', (19.61,17.475), layer=63, texttype=63))
weight_comp.add(gdstk.Label('Mx2_x3_XM3', (23.17,17.475), layer=63, texttype=63))

lib.write_gds('WEIGHT_COMP.gds')
